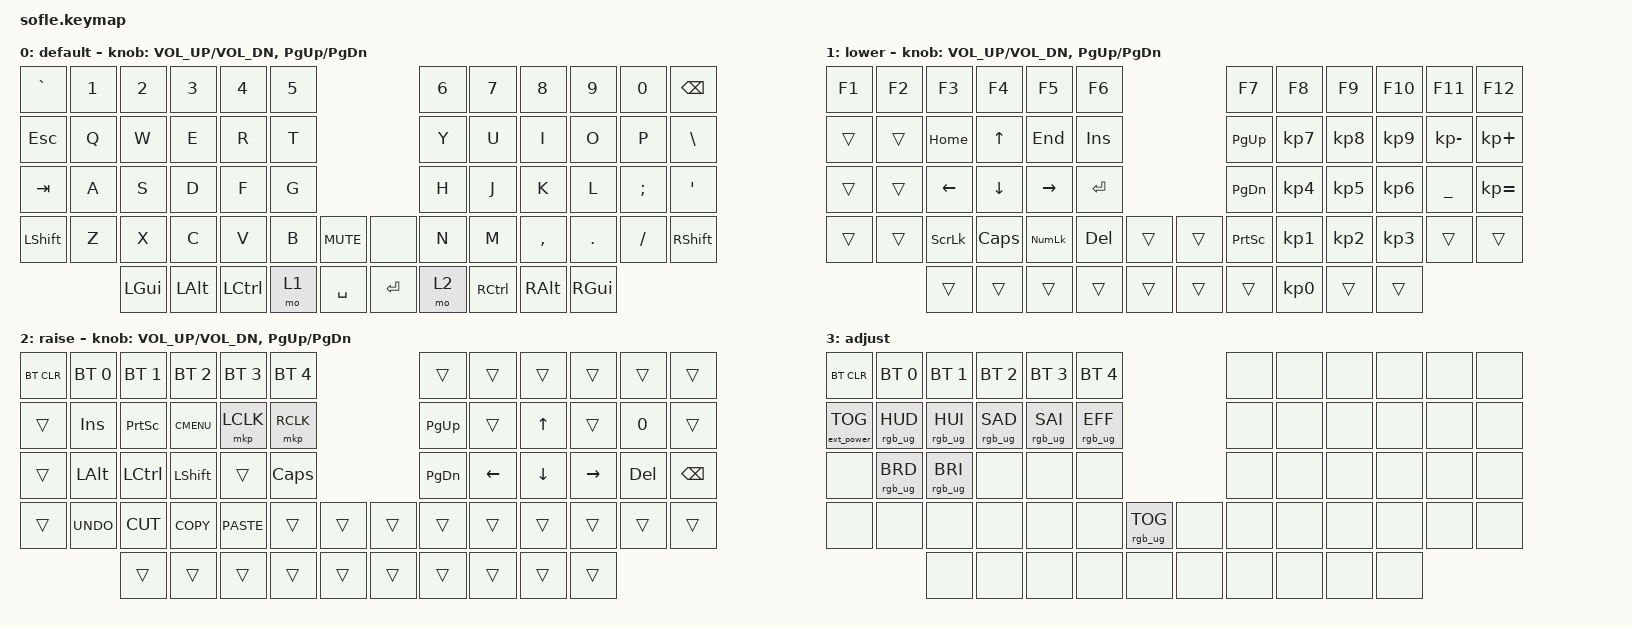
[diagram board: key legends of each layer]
/*
 * Copyright (c) 2020 The ZMK Contributors
 *
 * SPDX-License-Identifier: MIT
 */

#include <behaviors.dtsi>
#include <dt-bindings/zmk/bt.h>
#include <dt-bindings/zmk/ext_power.h>
#include <dt-bindings/zmk/keys.h>
#include <dt-bindings/zmk/mouse.h>
#include <dt-bindings/zmk/rgb.h>

#define BASE 0
#define LOWER 1
#define RAISE 2
#define ADJUST 3

/ {
    // Activate ADJUST layer by pressing raise and lower

    conditional_layers {
        compatible = "zmk,conditional-layers";

        adjust_layer {
            if-layers = <1 2>;
            then-layer = <3>;
        };
    };

    combos {
        compatible = "zmk,combos";

        capslock {
            bindings = <&kp CAPSLOCK>;
            key-positions = <0 11>;
        };

        underscore {
            bindings = <&kp UNDERSCORE>;
            key-positions = <36 49>;
        };
    };

    keymap {
        compatible = "zmk,keymap";

        default_layer {
            display-name = "default";

            // ------------------------------------------------------------------------------------------------------------
            // |   `   |  1  |  2  |  3   |  4   |  5   |                   |  6   |  7    |  8    |  9   |   0   |       |
            // |  ESC  |  Q  |  W  |  E   |  R   |  T   |                   |  Y   |  U    |  I    |  O   |   P   | BKSPC |
            // |  TAB  |  A  |  S  |  D   |  F   |  G   |                   |  H   |  J    |  K    |  L   |   ;   |   '   |
            // | SHIFT |  Z  |  X  |  C   |  V   |  B   |  MUTE  |  |       |  N   |  M    |  ,    |  .   |   /   | SHIFT |
            //               | GUI | ALT  | CTRL | LOWER|  ENTER |  | SPACE | RAISE| CTRL  | ALT   | GUI  |

            bindings = <
&kp GRAVE  &kp N1  &kp N2    &kp N3    &kp N4     &kp N5                           &kp N6  &kp N7     &kp N8     &kp N9    &kp N0    &kp BACKSPACE
&kp ESC    &kp Q   &kp W     &kp E     &kp R      &kp T                            &kp Y   &kp U      &kp I      &kp O     &kp P     &kp BACKSLASH
&kp TAB    &kp A   &kp S     &kp D     &kp F      &kp G                            &kp H   &kp J      &kp K      &kp L     &kp SEMI  &kp SQT
&kp LSHFT  &kp Z   &kp X     &kp C     &kp V      &kp B   &kp C_MUTE    &none      &kp N   &kp M      &kp COMMA  &kp DOT   &kp FSLH  &kp RSHFT
                   &kp LGUI  &kp LALT  &kp LCTRL  &mo 1   &kp SPACE     &kp ENTER  &mo 2   &kp RCTRL  &kp RALT   &kp RGUI
            >;

            sensor-bindings = <&inc_dec_kp C_VOL_UP C_VOL_DN &inc_dec_kp PG_UP PG_DN>;
        };

        lower_layer {
            display-name = "lower";

            // TODO: Some binds are waiting for shifted keycode support.
            // ------------------------------------------------------------------------------------------------------------
            // |       |  F1 |  F2 |  F3  |  F4  |  F5  |                   |  F6  |  F7   |  F8   |  F9  |  F10  |  F11  |
            // |   `   |  1  |  2  |  3   |  4   |  5   |                   |  6   |  7    |  8    |  9   |   0   |  F12  |
            // |       |  !  |  @  |  #   |  $   |  %   |                   |  ^   |  &    |  *    |  (   |   )   |   |   |
            // |       |  =  |  -  |  +   |  {   |  }   |        |  |       |  [   |  ]    |  ;    |  :   |   \   |       |
            //               |     |      |      |      |        |  |       |      |       |       |      |

            bindings = <
&kp F1  &kp F2  &kp F3          &kp F4          &kp F5          &kp F6                        &kp F7           &kp F8           &kp F9           &kp F10          &kp F11         &kp F12
&trans  &trans  &kp HOME        &kp UP          &kp END         &kp INSERT                    &kp PAGE_UP      &kp KP_NUMBER_7  &kp KP_NUMBER_8  &kp KP_NUMBER_9  &kp KP_MINUS    &kp KP_PLUS
&trans  &trans  &kp LEFT        &kp DOWN_ARROW  &kp RIGHT       &kp ENTER                     &kp PAGE_DOWN    &kp KP_NUMBER_4  &kp KP_NUMBER_5  &kp KP_NUMBER_6  &kp UNDERSCORE  &kp KP_EQUAL
&trans  &trans  &kp SCROLLLOCK  &kp CAPSLOCK    &kp KP_NUMLOCK  &kp DELETE  &trans    &trans  &kp PRINTSCREEN  &kp KP_NUMBER_1  &kp KP_NUMBER_2  &kp KP_NUMBER_3  &trans          &trans
                &trans          &trans          &trans          &trans      &trans    &trans  &trans           &kp KP_NUMBER_0  &trans           &trans
            >;

            sensor-bindings = <&inc_dec_kp C_VOL_UP C_VOL_DN &inc_dec_kp PG_UP PG_DN>;
        };

        raise_layer {
            display-name = "raise";

            // ------------------------------------------------------------------------------------------------------------
            // | BTCLR | BT1  | BT2  |  BT3  |  BT4  |  BT5 |                |      |      |       |      |       |       |
            // |       | INS  | PSCR | GUI   |       |      |                | PGUP |      |   ^   |      |       |       |
            // |       | ALT  | CTRL | SHIFT |       | CAPS |                | PGDN |   <- |   v   |  ->  |  DEL  | BKSPC |
            // |       | UNDO | CUT  | COPY  | PASTE |      |      |  |      |      |      |       |      |       |       |
            //                |      |       |       |      |      |  |      |      |      |       |      |

            bindings = <
&bt BT_CLR  &bt BT_SEL 0  &bt BT_SEL 1  &bt BT_SEL 2  &bt BT_SEL 3  &bt BT_SEL 4                    &trans     &trans    &trans    &trans     &trans   &trans
&trans      &kp INS       &kp PSCRN     &kp K_CMENU   &mkp LCLK     &mkp RCLK                       &kp PG_UP  &trans    &kp UP    &trans     &kp N0   &trans
&trans      &kp LALT      &kp LCTRL     &kp LSHFT     &trans        &kp CLCK                        &kp PG_DN  &kp LEFT  &kp DOWN  &kp RIGHT  &kp DEL  &kp BSPC
&trans      &kp K_UNDO    &kp K_CUT     &kp K_COPY    &kp K_PASTE   &trans        &trans    &trans  &trans     &trans    &trans    &trans     &trans   &trans
                          &trans        &trans        &trans        &trans        &trans    &trans  &trans     &trans    &trans    &trans
            >;

            sensor-bindings = <&inc_dec_kp C_VOL_UP C_VOL_DN &inc_dec_kp PG_UP PG_DN>;
        };

        adjust_layer {
            // ----------------------------------------------------------------------------------------------------------------------------
            // | BTCLR  |  BT1    |  BT2    |   BT3   |   BT4   |   BT5   |                  |      |      |       |      |       |       |
            // | EXTPWR | RGB_HUD | RGB_HUI | RGB_SAD | RGB_SAI | RGB_EFF |                  |      |      |       |      |       |       |
            // |        | RGB_BRD | RGB_BRI |         |         |         |                  |      |      |       |      |       |       |
            // |        |         |         |         |         |         | RGB_TOG | |      |      |      |       |      |       |       |
            //                    |         |         |         |         |         | |      |      |      |       |      |

            display-name = "adjust";
            bindings = <
&bt BT_CLR         &bt BT_SEL 0     &bt BT_SEL 1     &bt BT_SEL 2     &bt BT_SEL 3     &bt BT_SEL 4                               &none  &none  &none  &none  &none  &none
&ext_power EP_TOG  &rgb_ug RGB_HUD  &rgb_ug RGB_HUI  &rgb_ug RGB_SAD  &rgb_ug RGB_SAI  &rgb_ug RGB_EFF                            &none  &none  &none  &none  &none  &none
&none              &rgb_ug RGB_BRD  &rgb_ug RGB_BRI  &none            &none            &none                                      &none  &none  &none  &none  &none  &none
&none              &none            &none            &none            &none            &none            &rgb_ug RGB_TOG    &none  &none  &none  &none  &none  &none  &none
                                    &none            &none            &none            &none            &none              &none  &none  &none  &none  &none
            >;
        };
    };
};
